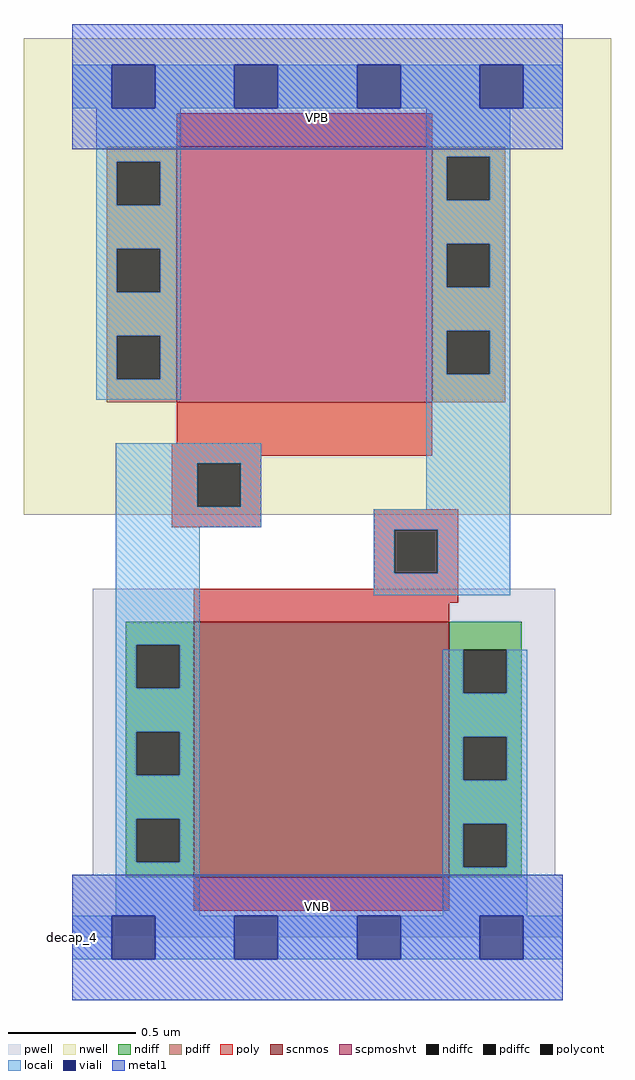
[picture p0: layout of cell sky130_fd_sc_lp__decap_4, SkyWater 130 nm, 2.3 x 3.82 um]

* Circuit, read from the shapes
.subckt sky130_fd_sc_lp__decap_4 VGND VNB VPB VPWR
XM1 VGND VPWR VGND VNB sky130_fd_pr__nfet_01v8 w=1 l=1
XM2 VPWR VGND VPWR VPB sky130_fd_pr__pfet_01v8_hvt w=1 l=1
.ends

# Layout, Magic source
magic
tech sky130A
magscale 1 2
<< nwell >>
rect -38 331 422 704
<< pwell >>
rect 16 49 378 273
rect 0 0 384 49
<< scnmos >>
rect 95 47 295 247
<< scpmoshvt >>
rect 82 419 282 619
<< ndiff >>
rect 42 229 95 247
rect 42 195 50 229
rect 84 195 95 229
rect 42 161 95 195
rect 42 127 50 161
rect 84 127 95 161
rect 42 93 95 127
rect 42 59 50 93
rect 84 59 95 93
rect 42 47 95 59
rect 295 225 352 247
rect 295 191 306 225
rect 340 191 352 225
rect 295 157 352 191
rect 295 123 306 157
rect 340 123 352 157
rect 295 89 352 123
rect 295 55 306 89
rect 340 55 352 89
rect 295 47 352 55
<< pdiff >>
rect 27 607 82 619
rect 27 573 35 607
rect 69 573 82 607
rect 27 539 82 573
rect 27 505 35 539
rect 69 505 82 539
rect 27 471 82 505
rect 27 437 35 471
rect 69 437 82 471
rect 27 419 82 437
rect 282 611 339 619
rect 282 577 293 611
rect 327 577 339 611
rect 282 543 339 577
rect 282 509 293 543
rect 327 509 339 543
rect 282 475 339 509
rect 282 441 293 475
rect 327 441 339 475
rect 282 419 339 441
<< ndiffc >>
rect 50 195 84 229
rect 50 127 84 161
rect 50 59 84 93
rect 306 191 340 225
rect 306 123 340 157
rect 306 55 340 89
<< pdiffc >>
rect 35 573 69 607
rect 35 505 69 539
rect 35 437 69 471
rect 293 577 327 611
rect 293 509 327 543
rect 293 441 327 475
<< poly >>
rect 82 619 282 645
rect 82 387 282 419
rect 78 377 282 387
rect 78 371 148 377
rect 78 337 98 371
rect 132 337 148 371
rect 78 321 148 337
rect 236 319 302 335
rect 236 285 252 319
rect 286 285 302 319
rect 236 273 302 285
rect 95 262 302 273
rect 95 247 295 262
rect 95 21 295 47
<< polycont >>
rect 98 337 132 371
rect 252 285 286 319
<< locali >>
rect 0 649 31 683
rect 65 649 127 683
rect 161 649 223 683
rect 257 649 319 683
rect 353 649 384 683
rect 19 607 85 649
rect 19 573 35 607
rect 69 573 85 607
rect 19 539 85 573
rect 19 505 35 539
rect 69 505 85 539
rect 19 471 85 505
rect 19 437 35 471
rect 69 437 85 471
rect 19 421 85 437
rect 277 611 343 649
rect 277 577 293 611
rect 327 577 343 611
rect 277 543 343 577
rect 277 509 293 543
rect 327 509 343 543
rect 277 475 343 509
rect 277 441 293 475
rect 327 441 343 475
rect 34 371 148 387
rect 34 337 98 371
rect 132 337 148 371
rect 34 321 148 337
rect 277 335 343 441
rect 34 229 100 321
rect 236 319 343 335
rect 236 285 252 319
rect 286 285 343 319
rect 236 268 343 285
rect 34 195 50 229
rect 84 195 100 229
rect 34 161 100 195
rect 34 127 50 161
rect 84 127 100 161
rect 34 93 100 127
rect 34 59 50 93
rect 84 59 100 93
rect 34 17 100 59
rect 290 191 306 225
rect 340 191 356 225
rect 290 157 356 191
rect 290 123 306 157
rect 340 123 356 157
rect 290 89 356 123
rect 290 55 306 89
rect 340 55 356 89
rect 290 17 356 55
rect 0 -17 31 17
rect 65 -17 127 17
rect 161 -17 223 17
rect 257 -17 319 17
rect 353 -17 384 17
<< viali >>
rect 31 649 65 683
rect 127 649 161 683
rect 223 649 257 683
rect 319 649 353 683
rect 31 -17 65 17
rect 127 -17 161 17
rect 223 -17 257 17
rect 319 -17 353 17
<< metal1 >>
rect 0 683 384 715
rect 0 649 31 683
rect 65 649 127 683
rect 161 649 223 683
rect 257 649 319 683
rect 353 649 384 683
rect 0 617 384 649
rect 0 17 384 49
rect 0 -17 31 17
rect 65 -17 127 17
rect 161 -17 223 17
rect 257 -17 319 17
rect 353 -17 384 17
rect 0 -49 384 -17
<< labels >>
flabel pwell s 0 0 384 49 0 FreeSans 200 0 0 0 VNB
port 2 nsew ground bidirectional
flabel nwell s 0 617 384 666 0 FreeSans 200 0 0 0 VPB
port 3 nsew power bidirectional
rlabel comment s 0 0 0 0 4 decap_4
flabel metal1 s 0 0 384 49 0 FreeSans 340 0 0 0 VGND
port 1 nsew ground bidirectional
flabel metal1 s 0 617 384 666 0 FreeSans 340 0 0 0 VPWR
port 4 nsew power bidirectional
<< properties >>
string LEFsite unit
string LEFclass CORE SPACER
string FIXED_BBOX 0 0 384 666
string GDS_FILE $PDKPATH/libs.ref/sky130_fd_sc_lp/gds/sky130_fd_sc_lp.gds
string LEFsymmetry X Y R90
string GDS_END 5956510
string GDS_START 5953264
<< end >>
